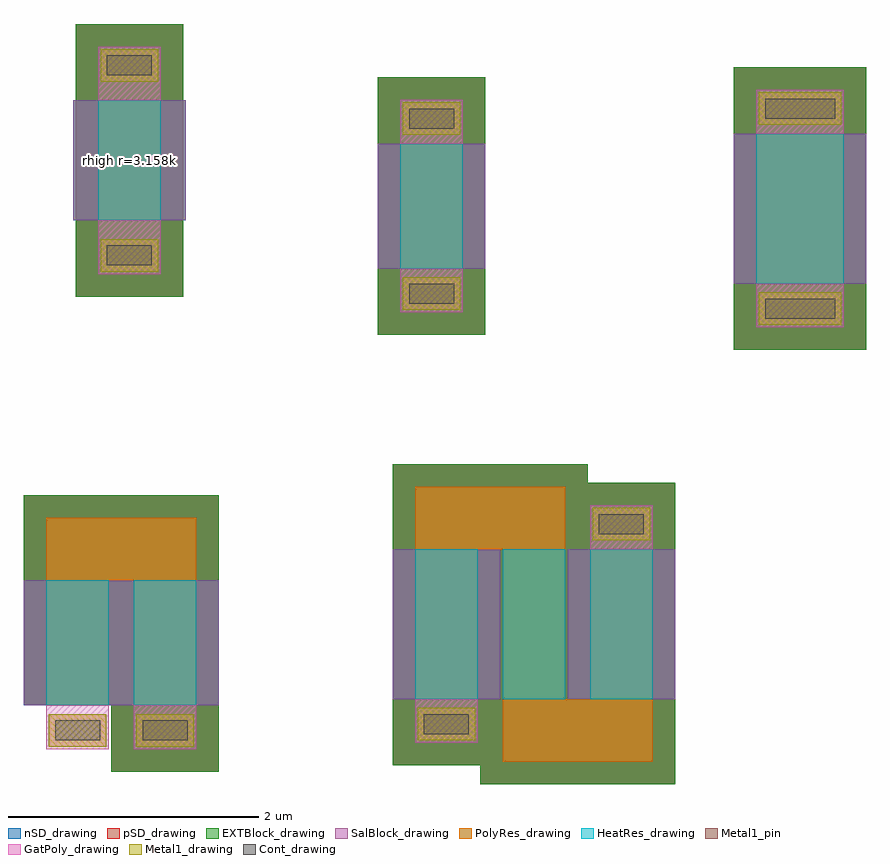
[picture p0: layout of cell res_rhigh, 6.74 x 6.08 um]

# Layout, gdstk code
import gdstk
lib = gdstk.Library(unit=1e-6, precision=1e-09)
def R(c, l, rs):  # rectangles x0, y0, x1, y1
    for r in rs: c.add(gdstk.rectangle(r[:2], r[2:], *l))
def A(c, l, x, y, w, h, nx, ny, dx, dy):  # array of equal rectangles
    R(c, l, [(x+i*dx, y+j*dy, x+i*dx+w, y+j*dy+h) for i in range(nx) for j in range(ny)])
GatPoly_drawing = (5, 0)
Cont_drawing = (6, 0)
nSD_drawing = (7, 0)
Metal1_drawing = (8, 0)
Metal1_pin = (8, 2)
pSD_drawing = (14, 0)
SalBlock_drawing = (28, 0)
HeatRes_drawing = (52, 0)
EXTBlock_drawing = (111, 0)
PolyRes_drawing = (128, 0)

res_rhigh = lib.new_cell('res_rhigh')
R(res_rhigh, GatPoly_drawing, [(2.209,-4.231,2.709,-3.881), (2.909,-4.231,3.409,-3.881), (5.159,-4.18,5.659,-3.83), (6.559,-2.63,7.059,-2.28), (7.889,-0.856,8.589,-0.506), (5.042,-0.737,5.542,-0.387), (2.624,-0.43,3.124,0), (5.042,0.613,5.542,0.963), (7.889,0.694,8.589,1.044), (2.624,0.96,3.124,1.39)])
R(res_rhigh, Cont_drawing, [(2.279,-4.161,2.639,-4.001), (2.979,-4.161,3.339,-4.001), (5.229,-4.11,5.589,-3.95), (6.629,-2.51,6.989,-2.35), (7.959,-0.786,8.519,-0.626), (5.112,-0.667,5.472,-0.507), (2.694,-0.36,3.054,-0.2), (5.112,0.733,5.472,0.893), (7.959,0.814,8.519,0.974), (2.694,1.16,3.054,1.32)])
A(res_rhigh, nSD_drawing, 4.979, -3.83, 0.86, 1.2, 3, 1, 0.7, 0)
R(res_rhigh, nSD_drawing, [(5.679,-4.51,7.239,-3.65), (2.729,-4.411,3.589,-2.881), (4.979,-4.36,5.839,-3.83), (2.029,-3.881,2.889,-2.881), (2.729,-3.881,3.589,-2.881), (6.379,-3.83,7.239,-2.1), (2.029,-3.061,3.589,-2.201), (4.979,-2.81,6.539,-1.95), (7.709,-1.036,8.769,-0.506), (4.862,-0.917,5.722,-0.387), (2.444,-0.61,3.304,0.18), (7.709,-0.506,8.769,0.694), (7.709,-0.506,8.769,1.224), (4.862,-0.387,5.722,0.613), (4.862,-0.387,5.722,1.143), (2.444,0,3.304,0.96), (2.444,0,3.304,0.96), (2.444,0,3.304,0.96), (2.444,0.78,3.304,1.57)])
R(res_rhigh, Metal1_drawing, [(2.229,-4.211,2.689,-3.951), (2.929,-4.211,3.389,-3.951), (5.179,-4.16,5.639,-3.9), (6.579,-2.56,7.039,-2.3), (7.909,-0.836,8.569,-0.576), (5.062,-0.717,5.522,-0.457), (2.644,-0.41,3.104,-0.15), (5.062,0.683,5.522,0.943), (7.909,0.764,8.569,1.024), (2.644,1.11,3.104,1.37)])
R(res_rhigh, Metal1_pin, [(2.229,-4.211,2.689,-3.951), (2.229,-4.211,2.689,-3.951), (2.929,-4.211,3.389,-3.951), (2.929,-4.211,3.389,-3.951), (5.179,-4.16,5.639,-3.9), (5.179,-4.16,5.639,-3.9), (6.579,-2.56,7.039,-2.3), (6.579,-2.56,7.039,-2.3), (7.909,-0.836,8.569,-0.576), (7.909,-0.836,8.569,-0.576), (5.062,-0.717,5.522,-0.457), (5.062,-0.717,5.522,-0.457), (2.644,-0.41,3.104,-0.15), (5.062,0.683,5.522,0.943), (5.062,0.683,5.522,0.943), (7.909,0.764,8.569,1.024), (7.909,0.764,8.569,1.024), (2.644,1.11,3.104,1.37)])
A(res_rhigh, pSD_drawing, 4.979, -3.83, 0.86, 1.2, 3, 1, 0.7, 0)
R(res_rhigh, pSD_drawing, [(5.679,-4.51,7.239,-3.65), (2.729,-4.411,3.589,-2.881), (4.979,-4.36,5.839,-3.83), (2.029,-3.881,2.889,-2.881), (2.729,-3.881,3.589,-2.881), (6.379,-3.83,7.239,-2.1), (2.029,-3.061,3.589,-2.201), (4.979,-2.81,6.539,-1.95), (7.709,-1.036,8.769,-0.506), (4.862,-0.917,5.722,-0.387), (2.444,-0.61,3.304,0.18), (7.709,-0.506,8.769,0.694), (7.709,-0.506,8.769,1.224), (4.862,-0.387,5.722,0.613), (4.862,-0.387,5.722,1.143), (2.444,0,3.304,0.96), (2.444,0,3.304,0.96), (2.444,0.78,3.304,1.57)])
R(res_rhigh, SalBlock_drawing, [(2.029,-3.881,2.889,-2.881), (2.729,-3.881,3.589,-2.881), (4.979,-3.83,5.839,-2.63), (6.379,-3.83,7.239,-2.63), (7.709,-0.506,8.769,0.694), (4.862,-0.387,5.722,0.613), (2.424,0,3.324,0.96)])
A(res_rhigh, HeatRes_drawing, 5.159, -3.83, 0.5, 1.2, 3, 1, 0.7, 0)
R(res_rhigh, HeatRes_drawing, [(2.209,-3.881,2.709,-2.881), (2.909,-3.881,3.409,-2.881), (7.889,-0.506,8.589,0.694), (5.042,-0.387,5.542,0.613), (2.624,0,3.124,0.96)])
A(res_rhigh, EXTBlock_drawing, 4.979, -3.83, 0.86, 1.2, 3, 1, 0.7, 0)
R(res_rhigh, EXTBlock_drawing, [(5.679,-4.51,7.239,-3.65), (2.729,-4.411,3.589,-2.881), (4.979,-4.36,5.839,-3.83), (2.029,-3.881,2.889,-2.881), (2.729,-3.881,3.589,-2.881), (6.379,-3.83,7.239,-2.1), (2.029,-3.061,3.589,-2.201), (4.979,-2.81,6.539,-1.95), (7.709,-1.036,8.769,-0.506), (4.862,-0.917,5.722,-0.387), (2.444,-0.61,3.304,0.18), (7.709,-0.506,8.769,0.694), (7.709,-0.506,8.769,1.224), (4.862,-0.387,5.722,0.613), (4.862,-0.387,5.722,1.143), (2.424,0,3.324,0.96), (2.444,0.78,3.304,1.57)])
A(res_rhigh, PolyRes_drawing, 5.159, -3.83, 0.5, 1.2, 3, 1, 0.7, 0)
R(res_rhigh, PolyRes_drawing, [(5.859,-4.33,7.059,-3.83), (2.209,-3.881,2.709,-2.881), (2.909,-3.881,3.409,-2.881), (2.209,-2.881,3.409,-2.381), (5.159,-2.63,6.359,-2.13), (7.889,-0.506,8.589,0.694), (5.042,-0.387,5.542,0.613), (2.624,0,3.124,0.96)])
res_rhigh.add(gdstk.Label('rhigh r=3.158k', (2.874,0.48), layer=63, texttype=0))
res_rhigh.add(gdstk.Label('rhigh', (2.874,0.48), layer=52, texttype=0))

lib.write_gds('res_rhigh.gds')
